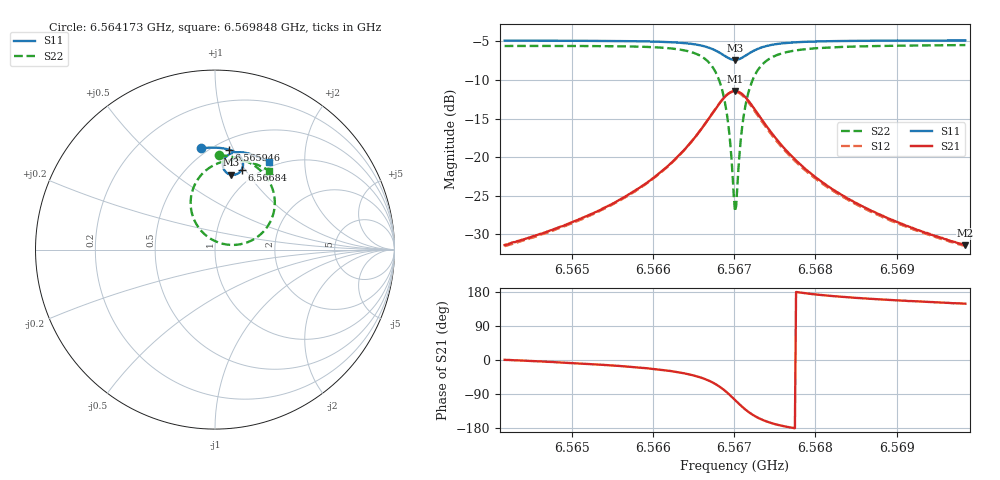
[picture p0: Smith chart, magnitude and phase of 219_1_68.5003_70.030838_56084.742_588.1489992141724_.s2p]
#  HZ  S  RI  R  50.00
! Rohde & Schwarz Vector Network Analyzer
! Rohde-Schwarz,ZNB20-2Port,1311601062101988,3.16
! Created: UTC 3/20/2024, 4:58:21 PM
! freq[Hz]  re:S11  im:S11  re:S21  im:S21  re:S12  im:S12  re:S22  im:S22
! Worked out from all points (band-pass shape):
!   401 points, 6.564173 GHz to 6.569848 GHz, reference 50 ohm
!   highest |S21| = -11.43 dB at 6.56701 GHz (marker M1); lowest = -31.4 dB at 6.569848 GHz (marker M2)
!   |S21| within 3 dB of the highest: 6.566725 GHz to 6.567294 GHz (568.3 kHz wide, 0.00865 % of centre)
!   lowest |S11| = -7.4 dB at 6.56701 GHz (marker M3), VSWR 2.49, Z = 40.6 + j41.5 ohm
!   |S11| at or under -10 dB: nowhere
!   |S22| runs from -27.1 to -5.5 dB; largest |S21 - S12| = 0.013
!   S11 on the Smith chart (normalised r, x): 6.564173 GHz: 0.46, +0.76; 6.565946 GHz: 0.59, +0.96; 6.56684 GHz: 0.85, +0.96; 6.569848 GHz: 0.93, +1.34
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6.5641727e9  -0.0767 0.5639  0.0268 0.00016  0.0264 -0.000212  0.0226 0.5251
6.5651233e9  0.000451 0.568  0.0395 -0.00664  0.0388 -0.0072  0.1107 0.5139
6.5659461e9  0.0754 0.5576  0.0643 -0.0264  0.0632 -0.027  0.212 0.4726
6.5660738e9  0.0887 0.5533  0.0709 -0.0333  0.0696 -0.0341  0.2327 0.4584
6.5663859e9  0.1235 0.535  0.091 -0.0642  0.0896 -0.0656  0.2913 0.3972
6.5665987e9  0.1478 0.5076  0.1041 -0.1117  0.1019 -0.1139  0.3292 0.3054
6.5667406e9  0.1564 0.475  0.0976 -0.1688  0.0932 -0.1719  0.3242 0.1965
6.5668399e9  0.1483 0.4446  0.0662 -0.2206  0.0589 -0.2234  0.2691 0.0993
6.5668825e9  0.1386 0.432  0.0411 -0.2414  0.0321 -0.2432  0.2231 0.0616
6.5669251e9  0.1244 0.4221  0.00818 -0.257  -0.00222 -0.257  0.163 0.0349
6.566996e9  0.094 0.4165  -0.058 -0.2615  -0.0693 -0.257  0.0448 0.032
6.5670102e9  0.0877 0.4175  -0.0718 -0.2584  -0.0825 -0.253  0.0211 0.039
6.5670244e9  0.0815 0.4193  -0.0848 -0.2541  -0.0952 -0.2477  -0.00139 0.0481
6.5670386e9  0.0756 0.4216  -0.0974 -0.2485  -0.1074 -0.241  -0.0228 0.0594
6.5670811e9  0.0602 0.4324  -0.1302 -0.2254  -0.138 -0.2158  -0.0766 0.1043
6.5671237e9  0.0496 0.4467  -0.1537 -0.1962  -0.1589 -0.1856  -0.1127 0.1586
6.5671804e9  0.0436 0.4675  -0.1702 -0.1551  -0.1721 -0.1447  -0.1342 0.2322
6.5672656e9  0.0474 0.4947  -0.1716 -0.1019  -0.1704 -0.0933  -0.1268 0.3243
6.5675209e9  0.0863 0.5342  -0.1287 -0.0221  -0.1258 -0.0185  -0.0297 0.4571
6.5679607e9  0.1448 0.5426  -0.0764 0.00814  -0.0747 0.00925  0.0919 0.4975
6.5689113e9  0.2311 0.5204  -0.037 0.0145  -0.036 0.0148  0.2214 0.4781
6.5698477e9  0.2994 0.4863  -0.0228 0.014  -0.0224 0.014  0.301 0.4401
